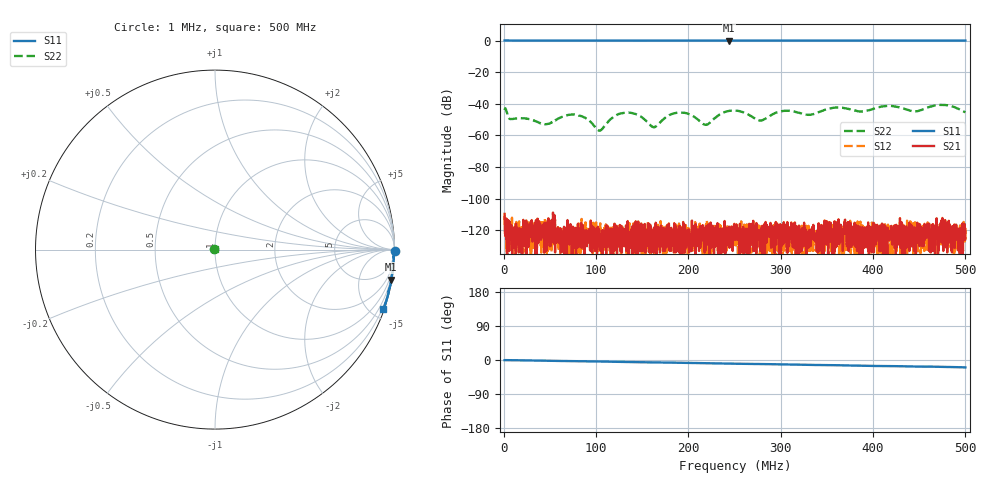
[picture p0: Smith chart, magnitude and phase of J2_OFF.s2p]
! MS46122B
! 1746301/73750021
! 8/7/2023 3:08:31 PM
! C:\USERS\SPEGWAL\DOWNLOADS\SAURABH\REACH\NODES\FRONT END\MEASUREMENTS\MEASURED S-PARAMETER_07-08-2023\MS-3\P2_J2\J2_OFF.S2P
! CHANNEL.1
! TR.MEASUREMENT
! CORRECTED.DATA
# GHZ S RI R 50.0
! FREQ.GHZ  S11RE  S11IM  S21RE  S21IM  S12RE  S12IM  S22RE  S22IM
!; PortSelection: Port_12
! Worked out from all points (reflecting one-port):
!   2001 points, 1 MHz to 500 MHz, reference 50 ohm
!   lowest |S11| = 0.0 dB at 244 MHz (marker M1), VSWR 351.07, Z = 20.1 - j592 ohm
!   phase of S11 starts at -0 deg and turns -19 deg over the sweep
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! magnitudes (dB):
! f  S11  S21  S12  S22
! 1 MHz  0.0  -109.6  -110.7  -44.0
! 7.737 MHz  0.0  -119.0  -121.0  -49.7
! 43.66 MHz  0.0  -120.5  -134.0  -52.8
! 84.33 MHz  0.0  -126.0  -112.8  -47.9
! 103.5 MHz  0.0  -123.1  -123.9  -57.0
! 131.7 MHz  0.0  -127.0  -124.4  -45.6
! 145.7 MHz  0.0  -114.4  -120.0  -47.1
! 161.4 MHz  0.0  -122.8  -127.0  -54.5
! 167.4 MHz  0.0  -121.0  -130.5  -53.0
! 191.4 MHz  0.0  -140.0  -119.7  -45.4
! 219.6 MHz  0.0  -119.1  -130.0  -53.2
! 244 MHz  0.0  -117.6  -127.7  -44.5
! 250.5 MHz  0.0  -126.0  -123.5  -44.3
! 277.2 MHz  0.0  -123.9  -125.4  -50.6
! 303.6 MHz  0.0  -125.4  -130.5  -44.4
! 333.8 MHz  0.0  -119.0  -123.1  -46.8
! 357 MHz  0.0  -119.6  -118.0  -42.5
! 387.7 MHz  0.0  -  -133.0  -44.9
! 416.9 MHz  0.0  -121.4  -123.0  -41.3
! 445.6 MHz  0.0  -120.9  -130.0  -44.8
! 477.8 MHz  0.0  -116.6  -127.0  -40.7
! 500 MHz  0.0  -120.5  -118.4  -45.4
